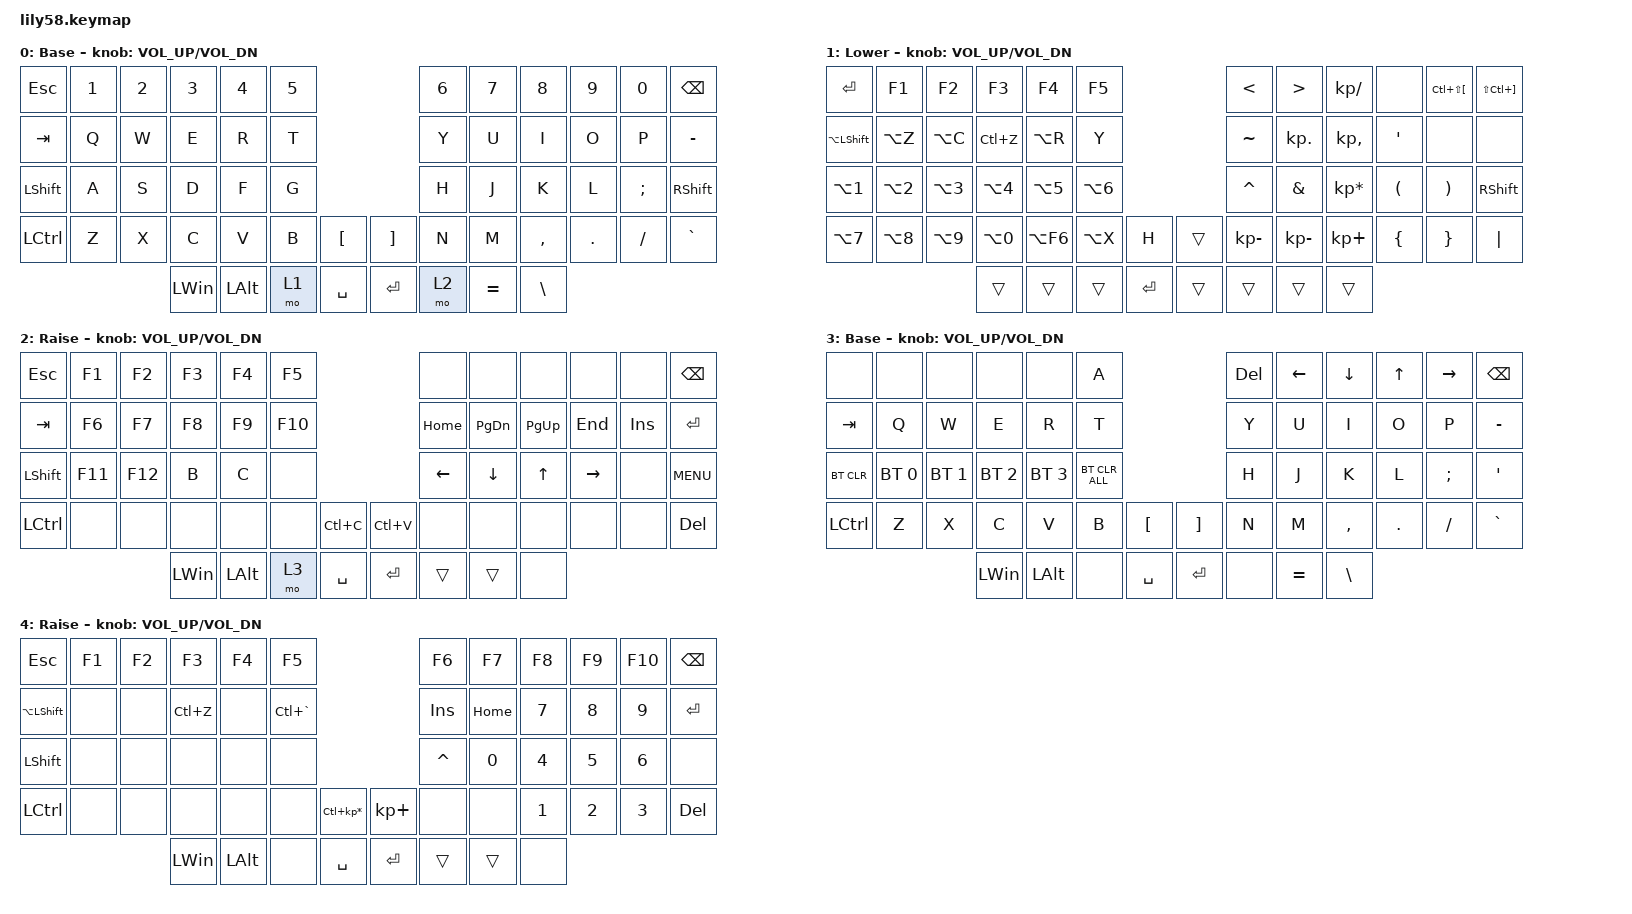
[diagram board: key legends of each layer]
/*
 * Copyright (c) 2020 The ZMK Contributors
 *
 * SPDX-License-Identifier: MIT
 */

#include <behaviors.dtsi>
#include <dt-bindings/zmk/bt.h>
#include <dt-bindings/zmk/keys.h>

/ {
    macros {
        dsdf: dsdf {
            compatible = "zmk,behavior-macro";
            #binding-cells = <0>;
            bindings = <&kp D &kp S &kp D &kp F>;
        };
    };

    keymap {
        compatible = "zmk,keymap";

        default_layer {
            // ------------------------------------------------------------------------------------------------------------
            // |  ESC  |  1  |  2  |  3   |  4   |  5   |                   |  6   |  7    |  8    |  9   |   0   |   `   |
            // |  TAB  |  Q  |  W  |  E   |  R   |  T   |                   |  Y   |  U    |  I    |  O   |   P   |   -   |
            // |  CTRL |  A  |  S  |  D   |  F   |  G   |                   |  H   |  J    |  K    |  L   |   ;   |   '   |
            // | SHIFT |  Z  |  X  |  C   |  V   |  B   |   "["  |  |  "]"  |  N   |  M    |  ,    |  .   |   /   | SHIFT |
            //                     | ALT  | GUI  | LOWER|  SPACE |  | ENTER | RAISE| BSPC  | GUI   |

            display-name = "Base";
            bindings = <
&kp ESC     &kp N1  &kp N2  &kp N3        &kp N4    &kp N5                         &kp N6  &kp N7     &kp N8         &kp N9   &kp N0    &kp BACKSPACE
&kp TAB     &kp Q   &kp W   &kp E         &kp R     &kp T                          &kp Y   &kp U      &kp I          &kp O    &kp P     &kp MINUS
&kp LSHIFT  &kp A   &kp S   &kp D         &kp F     &kp G                          &kp H   &kp J      &kp K          &kp L    &kp SEMI  &kp RIGHT_SHIFT
&kp LCTRL   &kp Z   &kp X   &kp C         &kp V     &kp B   &kp LBKT     &kp RBKT  &kp N   &kp M      &kp COMMA      &kp DOT  &kp FSLH  &kp GRAVE
                            &kp LEFT_WIN  &kp LALT  &mo 1   &kp SPACE    &kp RET   &mo 2   &kp EQUAL  &kp BACKSLASH
            >;

            sensor-bindings = <&inc_dec_kp C_VOL_UP C_VOL_DN>;
        };

        lower_layer {
            // ------------------------------------------------------------------------------------------------------------
            // | BTCLR | BT1 | BT2 |  BT3 |  BT4 |  BT5 |                   |      |       |       |      |       |       |
            // |  F1   |  F2 |  F3 |  F4  |  F5  |  F6  |                   |  F7  |  F8   |  F9   |  F10 |  F11  |  F12  |
            // |   `   |  !  |  @  |  #   |  $   |  %   |                   |  ^   |  &    |  *    |  (   |   )   |   ~   |
            // |       |     |     |      |      |      |        |  |       |      |  _    |  +    |  {   |   }   |  "|"  |
            //                     |      |      |      |        |  |       |      |       |       |

            display-name = "Lower";
            bindings = <
&kp ENTER         &kp F1            &kp F2            &kp F3            &kp F4            &kp F5                                 &kp LESS_THAN  &kp GREATER_THAN  &kp KP_DIVIDE    &none     &kp LC(LS(LEFT_BRACKET))  &kp LS(LC(RIGHT_BRACKET))
&kp LA(LSHIFT)    &kp LA(Z)         &kp LA(C)         &kp LC(Z)         &kp LA(R)         &kp Y                                  &kp TILDE      &kp KP_DOT        &kp KP_COMMA     &kp APOS  &none                     &none
&kp LA(NUMBER_1)  &kp LA(NUMBER_2)  &kp LA(NUMBER_3)  &kp LA(NUMBER_4)  &kp LA(NUMBER_5)  &kp LA(NUMBER_6)                       &kp CARET      &kp AMPS          &kp KP_MULTIPLY  &kp LPAR  &kp RPAR                  &kp RIGHT_SHIFT
&kp LA(NUMBER_7)  &kp LA(NUMBER_8)  &kp LA(NUMBER_9)  &kp LA(NUMBER_0)  &kp LA(F6)        &kp LA(X)         &kp H        &trans  &kp KP_MINUS   &kp KP_MINUS      &kp KP_PLUS      &kp LBRC  &kp RBRC                  &kp PIPE
                                                      &trans            &trans            &trans            &kp ENTER    &trans  &trans         &trans            &trans
            >;

            sensor-bindings = <&inc_dec_kp C_VOL_UP C_VOL_DN>;
        };

        raise_layer {
            // ------------------------------------------------------------------------------------------------------------
            // |       |     |     |      |      |      |                   |      |       |       |      |       |       |
            // |   `   |  1  |  2  |  3   |  4   |  5   |                   |  6   |   7   |   8   |  9   |   0   |       |
            // |   F1  |  F2 |  F3 |  F4  |  F5  |  F6  |                   |      |   <-  |   v   |  ^   |  ->   |       |
            // |   F7  |  F8 |  F9 |  F10 |  F11 |  F12 |        |  |       |  +   |   -   |   =   |  [   |   ]   |   \   |
            //                     |      |      |      |        |  |       |      |       |       |

            display-name = "Raise";
            bindings = <
&kp ESC           &kp F1   &kp F2   &kp F3        &kp F4        &kp F5                           &none           &none           &none         &none            &none       &kp BACKSPACE
&kp TAB           &kp F6   &kp F7   &kp F8        &kp F9        &kp F10                          &kp HOME        &kp PAGE_DOWN   &kp PAGE_UP   &kp END          &kp INSERT  &kp ENTER
&kp LSHFT         &kp F11  &kp F12  &kp B         &kp C         &none                            &kp LEFT_ARROW  &kp DOWN_ARROW  &kp UP_ARROW  &kp RIGHT_ARROW  &none       &kp C_MENU
&kp LEFT_CONTROL  &none    &none    &none         &none         &none    &kp LC(C)    &kp LC(V)  &none           &none           &none         &none            &none       &kp DELETE
                                    &kp LEFT_WIN  &kp LEFT_ALT  &mo 3    &kp SPACE    &kp ENTER  &trans          &trans          &none
            >;

            sensor-bindings = <&inc_dec_kp C_VOL_UP C_VOL_DN>;
        };

        total_comm {
            display-name = "Base";
            bindings = <
&none       &none         &none         &none         &none         &kp A                                  &kp DELETE  &kp LEFT_ARROW  &kp DOWN_ARROW  &kp UP_ARROW  &kp RIGHT_ARROW  &kp BACKSPACE
&kp TAB     &kp Q         &kp W         &kp E         &kp R         &kp T                                  &kp Y       &kp U           &kp I           &kp O         &kp P            &kp MINUS
&bt BT_CLR  &bt BT_SEL 0  &bt BT_SEL 1  &bt BT_SEL 2  &bt BT_SEL 3  &bt BT_CLR_ALL                         &kp H       &kp J           &kp K           &kp L         &kp SEMI         &kp SQT
&kp LCTRL   &kp Z         &kp X         &kp C         &kp V         &kp B           &kp LBKT     &kp RBKT  &kp N       &kp M           &kp COMMA       &kp DOT       &kp FSLH         &kp GRAVE
                                        &kp LEFT_WIN  &kp LALT      &none           &kp SPACE    &kp RET   &none       &kp EQUAL       &kp BACKSLASH
            >;

            sensor-bindings = <&inc_dec_kp C_VOL_UP C_VOL_DN>;
        };

        total_comm_2 {
            display-name = "Raise";
            bindings = <
&kp ESC             &kp F1  &kp F2  &kp F3        &kp F4        &kp F5                                             &kp F6      &kp F7    &kp F8        &kp F9        &kp F10       &kp BACKSPACE
&kp LA(LEFT_SHIFT)  &none   &none   &kp LC(Z)     &none         &kp LC(GRAVE)                                      &kp INSERT  &kp HOME  &kp N7        &kp N8        &kp N9        &kp ENTER
&kp LSHFT           &none   &none   &none         &none         &none                                              &kp CARET   &kp N0    &kp NUMBER_4  &kp N5        &kp NUMBER_6  &none
&kp LEFT_CONTROL    &none   &none   &none         &none         &none          &kp LC(KP_MULTIPLY)    &kp KP_PLUS  &none       &none     &kp NUMBER_1  &kp NUMBER_2  &kp NUMBER_3  &kp DELETE
                                    &kp LEFT_WIN  &kp LEFT_ALT  &none          &kp SPACE              &kp ENTER    &trans      &trans    &none
            >;

            sensor-bindings = <&inc_dec_kp C_VOL_UP C_VOL_DN>;
        };
    };
};
